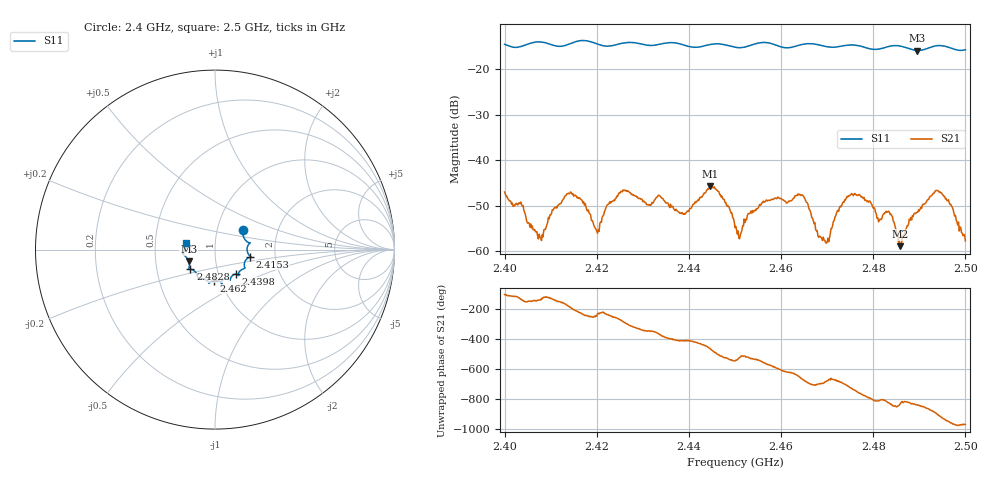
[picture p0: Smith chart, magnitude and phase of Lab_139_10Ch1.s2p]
# Hz S RI R 50
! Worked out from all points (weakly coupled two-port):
!   601 points, 2.4 GHz to 2.5 GHz, reference 50 ohm
!   highest |S21| = -45.69 dB at 2.4447 GHz (marker M1); lowest = -58.9 dB at 2.4858 GHz (marker M2)
!   lowest |S11| = -15.9 dB at 2.4895 GHz (marker M3), VSWR 1.38, Z = 37 - j5 ohm
!   |S11| at or under -10 dB: start of sweep to end of sweep
!   S12 and S22 are empty: the file has one direction only
!   S11 on the Smith chart (normalised r, x): 2.4 GHz: 1.33, +0.29; 2.4153 GHz: 1.48, -0.12; 2.4398 GHz: 1.21, -0.34; 2.462 GHz: 0.93, -0.33; 2.4828 GHz: 0.74, -0.17; 2.5 GHz: 0.72, +0.06
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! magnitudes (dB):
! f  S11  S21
! 2.4 GHz  -14.5  -47.0
! 2.4078 GHz  -14.0  -57.1
! 2.4107 GHz  -14.8  -50.7
! 2.4153 GHz  -14.0  -47.7
! 2.4167 GHz  -13.7  -48.7
! 2.42 GHz  -14.4  -55.7
! 2.4253 GHz  -14.3  -46.9
! 2.4333 GHz  -14.6  -47.7
! 2.4398 GHz  -15.0  -51.3
! 2.4447 GHz  -14.5  -45.7
! 2.45 GHz  -15.1  -54.8
! 2.462 GHz  -15.2  -49.0
! 2.4645 GHz  -14.6  -47.6
! 2.4667 GHz  -14.4  -52.6
! 2.4698 GHz  -15.0  -58.3
! 2.4748 GHz  -14.7  -47.9
! 2.4828 GHz  -15.1  -51.2
! 2.4833 GHz  -15.0  -51.2
! 2.4858 GHz  -14.9  -58.9
! 2.4895 GHz  -15.9  -51.4
! 2.4943 GHz  -14.8  -47.1
! 2.5 GHz  -15.7  -57.8
